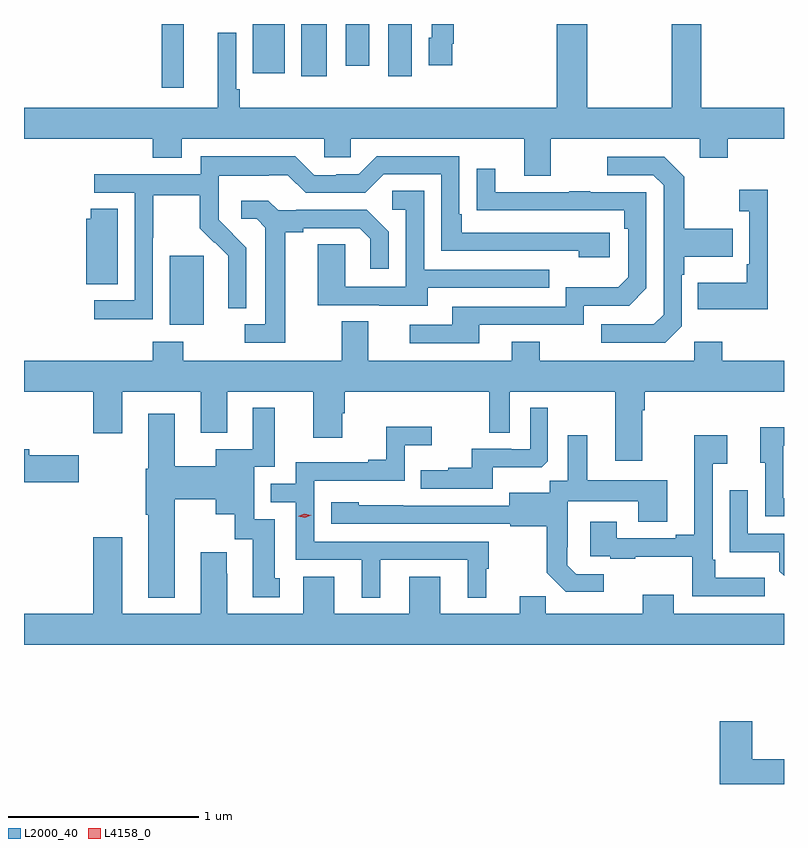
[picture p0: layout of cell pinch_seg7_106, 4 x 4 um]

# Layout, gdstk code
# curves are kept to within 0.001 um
import gdstk
lib = gdstk.Library(unit=1e-6, precision=1e-09)
def R(c, l, rs):  # rectangles x0, y0, x1, y1
    for r in rs: c.add(gdstk.rectangle(r[:2], r[2:], *l))
def P(c, l, *ps):  # polygons
    for p in ps: c.add(gdstk.Polygon(p, *l))
L2000_40 = (2000, 40)
L4158_0 = (4158, 0)

pinch_seg7_106 = lib.new_cell('pinch_seg7_106')
R(pinch_seg7_106, L2000_40, [(926.339,1003.634,926.518,1003.995), (926.296,1004.88,926.414,1005.216), (927.032,1004.94,927.166,1005.216), (927.488,1004.94,927.613,1005.216), (926.777,1004.958,926.944,1005.216), (927.266,1004.997,927.388,1005.216)])
P(pinch_seg7_106, L2000_40, [(927.826,1005.112),(927.833,1005.112),(927.833,1005.216),(927.717,1005.216),(927.717,1005.144),(927.701,1005.144),(927.701,1005),(927.826,1005)],
  [(928.345,1004.612),(929.129,1004.612),(929.129,1004.513),(929.277,1004.513),(929.277,1004.612),(929.572,1004.612),(929.572,1004.776),(929.136,1004.776),(929.136,1005.216),(928.981,1005.216),(928.981,1004.776),(928.536,1004.776),(928.536,1005.216),(928.376,1005.216),(928.376,1004.776),(926.708,1004.776),(926.708,1004.872),(926.688,1004.872),(926.688,1005.169),(926.591,1005.169),(926.591,1004.776),(925.572,1004.776),(925.572,1004.612),(926.249,1004.612),(926.249,1004.513),(926.401,1004.513),(926.401,1004.612),(927.153,1004.612),(927.153,1004.514),(927.291,1004.514),(927.291,1004.612),(928.205,1004.612),(928.205,1004.418),(928.345,1004.418)],
  [(926.25,1004.092),(926.253,1004.092),(926.253,1004.316),(926.497,1004.316),(926.497,1004.141),(926.574,1004.064),(926.577,1004.067),(926.648,1003.997),(926.648,1003.874),(926.646,1003.874),(926.646,1003.72),(926.742,1003.72),(926.742,1004.038),(926.596,1004.186),(926.596,1004.283),(926.598,1004.283),(926.598,1004.417),(926.861,1004.417),(926.861,1004.421),(926.961,1004.421),(927.054,1004.328),(927.369,1004.328),(927.465,1004.424),(927.768,1004.424),(927.768,1004.022),(928.493,1004.022),(928.493,1003.988),(928.654,1003.988),(928.654,1004.118),(927.877,1004.118),(927.877,1004.215),(927.864,1004.215),(927.864,1004.52),(927.429,1004.52),(927.333,1004.424),(927.215,1004.424),(927.215,1004.421),(927.099,1004.421),(926.999,1004.521),(926.502,1004.521),(926.502,1004.424),(925.941,1004.424),(925.941,1004.328),(926.154,1004.328),(926.154,1003.761),(925.941,1003.761),(925.941,1003.663),(926.25,1003.663)],
  [(929.034,1003.626),(929.034,1003.895),(929.047,1003.895),(929.047,1003.991),(929.303,1003.991),(929.303,1004.139),(929.047,1004.139),(929.047,1004.411),(928.941,1004.517),(928.641,1004.517),(928.641,1004.421),(928.884,1004.421),(928.938,1004.367),(928.938,1003.686),(928.887,1003.635),(928.611,1003.635),(928.611,1003.539),(928.947,1003.539)],
  [(927.967,1003.632),(928.518,1003.632),(928.518,1003.734),(928.758,1003.734),(928.848,1003.824),(928.848,1004.331),(928.553,1004.331),(928.553,1004.336),(928.441,1004.336),(928.441,1004.331),(928.051,1004.331),(928.051,1004.455),(927.955,1004.455),(927.955,1004.236),(928.732,1004.235),(928.732,1004.138),(928.752,1004.138),(928.752,1003.884),(928.699,1003.831),(928.422,1003.831),(928.422,1003.728),(927.827,1003.728),(927.827,1003.632),(927.603,1003.632),(927.603,1003.536),(927.967,1003.536)],
  [(929.486,1004.344),(929.337,1004.344),(929.337,1004.231),(929.388,1004.231),(929.388,1003.951),(929.376,1003.951),(929.376,1003.855),(929.119,1003.855),(929.119,1003.715),(929.486,1003.715)],
  [(927.697,1003.827),(928.337,1003.827),(928.337,1003.923),(927.678,1003.923),(927.678,1004.339),(927.51,1004.339),(927.51,1004.238),(927.582,1004.238),(927.582,1003.833),(927.264,1003.833),(927.264,1004.057),(927.119,1004.057),(927.119,1003.737),(927.443,1003.737),(927.443,1003.733),(927.697,1003.733)],
  [(926.947,1004.12),(927.043,1004.12),(927.043,1004.142),(927.338,1004.142),(927.395,1004.085),(927.395,1003.929),(927.492,1003.929),(927.492,1004.122),(927.376,1004.238),(927.004,1004.238),(927.004,1004.235),(926.91,1004.235),(926.858,1004.287),(926.715,1004.287),(926.715,1004.19),(926.796,1004.19),(926.843,1004.143),(926.843,1003.635),(926.733,1003.635),(926.733,1003.539),(926.947,1003.539)],
  [(926.065,1004.243),(925.922,1004.243),(925.922,1004.19),(925.9,1004.19),(925.9,1003.846),(926.065,1003.846)],
  [(928.287,1003.543),(928.139,1003.543),(928.139,1003.444),(927.385,1003.444),(927.385,1003.652),(927.245,1003.652),(927.245,1003.444),(926.409,1003.444),(926.409,1003.543),(926.249,1003.543),(926.249,1003.444),(925.572,1003.444),(925.572,1003.28),(925.937,1003.28),(925.937,1003.062),(926.089,1003.062),(926.089,1003.28),(926.501,1003.28),(926.501,1003.064),(926.641,1003.064),(926.641,1003.28),(927.095,1003.28),(927.095,1003.038),(927.247,1003.038),(927.247,1003.167),(927.26,1003.167),(927.26,1003.28),(928.02,1003.28),(928.02,1003.066),(928.128,1003.066),(928.128,1003.28),(928.685,1003.28),(928.685,1002.918),(928.825,1002.918),(928.825,1003.184),(928.838,1003.184),(928.838,1003.28),(929.572,1003.28),(929.572,1003.444),(929.247,1003.444),(929.247,1003.543),(929.1,1003.543),(929.1,1003.444),(928.287,1003.444)],
  [(928.039,1002.884),(928.297,1002.884),(928.329,1002.915),(928.329,1003.195),(928.236,1003.195),(928.236,1002.978),(928.136,1002.978),(928.136,1002.981),(927.929,1002.981),(927.929,1002.88),(927.805,1002.88),(927.805,1002.868),(927.661,1002.868),(927.661,1002.771),(928.039,1002.771)],
  [(926.365,1002.716),(926.582,1002.716),(926.582,1002.635),(926.681,1002.635),(926.681,1002.504),(926.777,1002.504),(926.777,1002.198),(926.917,1002.198),(926.917,1002.3),(926.893,1002.3),(926.893,1002.609),(926.784,1002.609),(926.784,1002.885),(926.893,1002.885),(926.893,1003.195),(926.777,1003.195),(926.777,1002.979),(926.582,1002.979),(926.582,1002.888),(926.365,1002.888),(926.365,1003.165),(926.225,1003.165),(926.225,1002.876),(926.213,1002.876),(926.213,1002.632),(926.225,1002.632),(926.225,1002.197),(926.365,1002.197)],
  [(927.448,1002.396),(927.908,1002.396),(927.908,1002.197),(928.006,1002.197),(928.006,1002.348),(928.018,1002.348),(928.018,1002.492),(927.099,1002.492),(927.099,1002.813),(927.576,1002.813),(927.576,1002.998),(927.718,1002.998),(927.718,1003.097),(927.478,1003.097),(927.478,1002.922),(927.383,1002.922),(927.383,1002.909),(927.003,1002.909),(927.003,1002.795),(926.87,1002.795),(926.87,1002.699),(927.003,1002.699),(927.003,1002.396),(927.35,1002.396),(927.35,1002.197),(927.448,1002.197)],
  [(929.572,1002.72),(929.568,1002.72),(929.568,1002.996),(929.572,1002.996),(929.572,1003.094),(929.447,1003.094),(929.447,1002.906),(929.472,1002.906),(929.472,1002.624),(929.572,1002.624)],
  [(928.624,1002.321),(928.479,1002.321),(928.432,1002.368),(928.432,1002.463),(928.434,1002.463),(928.434,1002.704),(928.805,1002.704),(928.805,1002.595),(928.957,1002.595),(928.957,1002.814),(928.537,1002.814),(928.537,1003.051),(928.433,1003.051),(928.433,1002.812),(928.338,1002.812),(928.338,1002.748),(928.127,1002.748),(928.127,1002.681),(927.333,1002.682),(927.333,1002.7),(927.189,1002.7),(927.189,1002.585),(928.131,1002.585),(928.131,1002.573),(928.323,1002.573),(928.323,1002.327),(928.423,1002.227),(928.624,1002.227)],
  [(929.47,1002.301),(929.209,1002.301),(929.209,1002.397),(929.196,1002.397),(929.196,1002.902),(929.272,1002.902),(929.272,1003.051),(929.099,1003.051),(929.099,1002.529),(929.003,1002.529),(929.003,1002.51),(928.693,1002.51),(928.693,1002.595),(928.553,1002.595),(928.553,1002.414),(928.657,1002.414),(928.657,1002.402),(928.789,1002.402),(928.789,1002.413),(929.088,1002.413),(929.088,1002.204),(929.47,1002.204)],
  [(925.861,1002.945),(925.6,1002.945),(925.6,1002.979),(925.572,1002.979),(925.572,1002.803),(925.861,1002.803)],
  [(929.572,1002.534),(929.382,1002.534),(929.382,1002.763),(929.286,1002.763),(929.286,1002.437),(929.548,1002.437),(929.548,1002.335),(929.572,1002.311)],
  [(929.572,1002.112),(928.993,1002.112),(928.993,1002.211),(928.829,1002.211),(928.829,1002.112),(928.319,1002.112),(928.319,1002.203),(928.181,1002.203),(928.181,1002.112),(927.763,1002.112),(927.763,1002.307),(927.599,1002.307),(927.599,1002.112),(927.205,1002.112),(927.205,1002.307),(927.041,1002.307),(927.041,1002.112),(926.641,1002.112),(926.641,1002.323),(926.638,1002.323),(926.638,1002.436),(926.501,1002.436),(926.501,1002.112),(926.089,1002.112),(926.089,1002.514),(925.937,1002.514),(925.937,1002.112),(925.572,1002.112),(925.572,1001.948),(929.572,1001.948)],
  [(929.572,1001.345),(929.404,1001.345),(929.404,1001.545),(929.234,1001.545),(929.234,1001.216),(929.572,1001.216)])
P(pinch_seg7_106, L4158_0, [(927.05,1002.618),(927.015,1002.625),(927.014,1002.625),(927.015,1002.626),(927.048,1002.638),(927.083,1002.631),(927.084,1002.631),(927.083,1002.63)])

lib.write_gds('pinch_seg7_106.gds')
